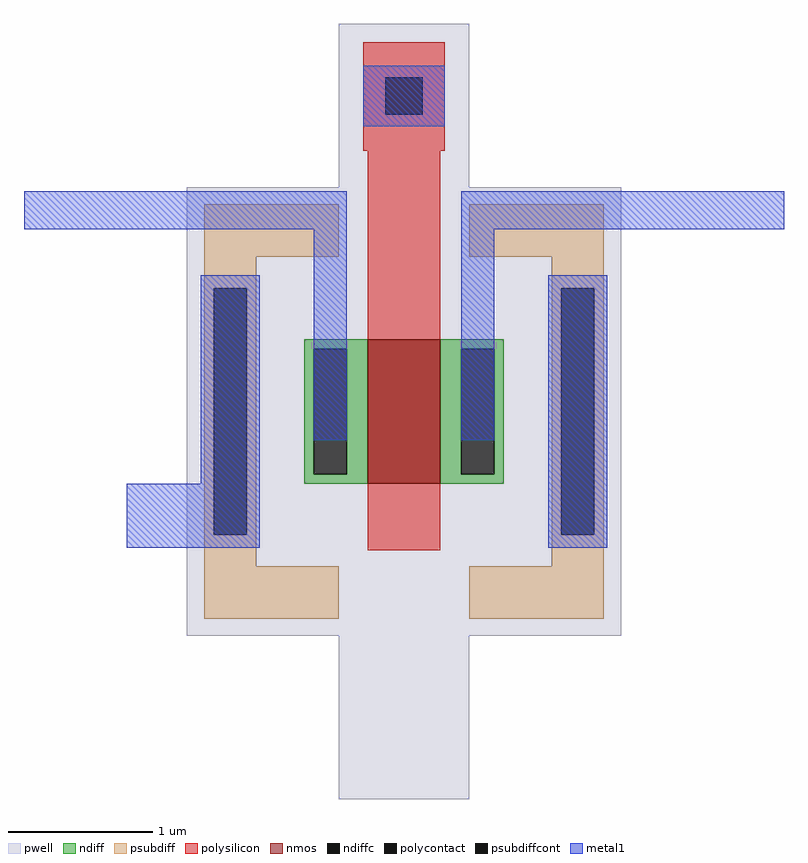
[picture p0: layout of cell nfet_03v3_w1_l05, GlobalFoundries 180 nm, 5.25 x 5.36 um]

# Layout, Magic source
magic
tech gf180mcuD
magscale 1 10
<< pwell >>
rect -300 -310 300 310
rect -90 100 90 536
rect -90 -536 90 -100
<< nmos >>
rect -50 -100 50 100
<< ndiff >>
rect -138 87 -50 100
rect -138 -87 -125 87
rect -79 -87 -50 87
rect -138 -100 -50 -87
rect 50 87 138 100
rect 50 -87 79 87
rect 125 -87 138 87
rect 50 -100 138 -87
<< ndiffc >>
rect -125 -87 -79 87
rect 79 -87 125 87
<< psubdiff >>
rect -276 170 -204 214
rect -276 -170 -263 170
rect -217 -170 -204 170
rect 204 170 276 214
rect -276 -214 -204 -170
rect 204 -170 217 170
rect 263 -170 276 170
rect 204 -214 276 -170
rect -276 214 -90 286
rect 90 214 276 286
rect -276 -286 -90 -214
rect 90 -286 276 -214
<< psubdiffcont >>
rect -263 -170 -217 170
rect 217 -170 263 170
<< polysilicon >>
rect -50 -192 50 370
rect -56 360 56 510
<< polycontact >>
rect -26 410 26 462
<< metal1 >>
rect -56 394 56 478
rect -125 -40 -79 252
rect -525 252 -79 304
rect 79 -40 125 252
rect 79 252 525 304
rect -281 -188 -199 188
rect 199 -188 281 188
rect -383 -188 -199 -100
<< properties >>
<< end >>
<< via1 >>
rect -26 410 26 462
<< metal2 >>
rect -52 400 52 484
<< properties >>
<< end >>
